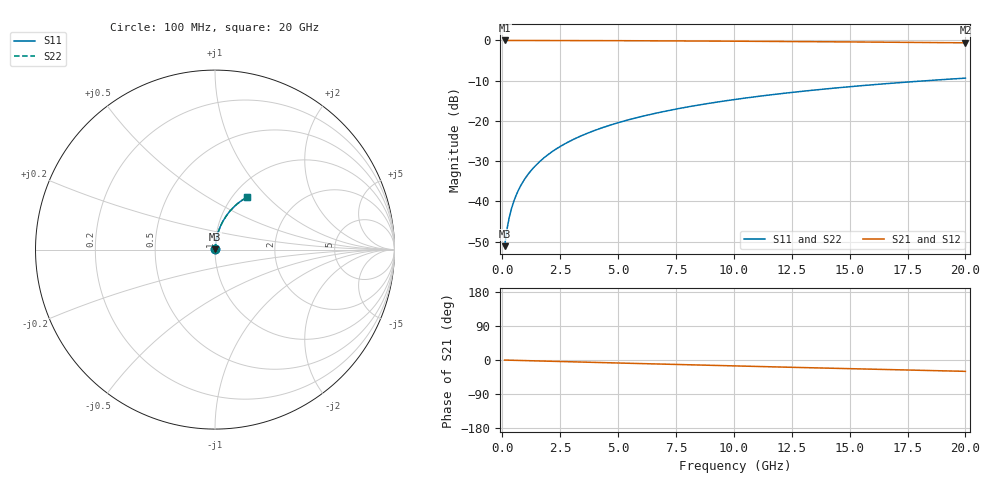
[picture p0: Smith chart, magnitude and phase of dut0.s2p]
! Touchstone file exported from HFSS 2026.1.0
!  File:  C:/ffzhzh/LocalFiles/Ansys_Project_Files/temp_val_TMRDL_0_1782902374_43084.aedt
!  Generated:  06:41:32 PM Jul  1, 2026
!  Design:  TMRDL
!  Project:  temp_val_TMRDL_0_1782902374_43084
! Variables:
!  h_bsmrdl = 2um
!  h_ox = 20um
!  h_rdl = 5um
!  h_sub = 80um
!  h_tmrdl = 4.08um
!  h_tsv = 80um
!  h_via = 3um
!  l_bsmrdl = 300um
!  l_sub = 764.65um
!  l_tmrdl = 364.65um
!  m_sub = 200um
!  pitch = 56.52um
!  r_tsv = 6um
!  s_tmrdl = 10um
!  w_bsmrdl = 18um
!  w_sub = 500um
!  w_tmrdl = 18.18um
!  x_tsv_center1 = 373.74um
!  x_tsv_center2 = 691.74um
!  x_tsv_center3 = 1074.57um
!  x_tsv_center4 = 1392.57um
!  x_tsv_center5 = 1775.4um
!  x_tsv_center6 = 2093.4um
# GHz S MA R 50.000000
! Terminal data exported
! Port[1] = TM_RDL1_1_T1
! Port[2] = TM_RDL1_1_T2
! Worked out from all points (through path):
!   200 points, 100 MHz to 20 GHz, reference 50 ohm
!   highest |S21| = -0.02 dB at 100 MHz (marker M1); lowest = -0.6 dB at 20 GHz (marker M2)
!   group delay of S21, straight-line fit = 4.16 ps
!   lowest |S11| = -51.1 dB at 100 MHz (marker M3), VSWR 1.01, Z = 50.2 + j0.203 ohm
!   |S11| at or under -10 dB: start of sweep to 18.36 GHz
!   |S22| runs from -51.1 to -9.4 dB; largest |S21 - S12| = 3.2e-15
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0.1  0.002772 46.7  0.9981 -0.2  0.9981 -0.2  0.002772 46.7
! Gamma 0 0 0 0
! Port Impedance 50 0 50 0
0.2  0.004467 63.7  0.998 -0.3  0.998 -0.3  0.004467 63.7
0.3  0.006306 70.8  0.998 -0.5  0.998 -0.5  0.006306 70.8
0.4  0.008174 74.5  0.9979 -0.7  0.9979 -0.7  0.008174 74.5
0.5  0.01005 76.9  0.9978 -0.8  0.9978 -0.8  0.01005 76.9
0.7  0.01382 79.6  0.9977 -1.1  0.9977 -1.1  0.01382 79.6
0.8  0.01571 80.5  0.9976 -1.3  0.9976 -1.3  0.01571 80.5
1  0.0195 81.6  0.9975 -1.6  0.9975 -1.6  0.0195 81.6
1.2  0.02331 82.3  0.9974 -1.9  0.9974 -1.9  0.02331 82.3
1.4  0.02711 82.7  0.9973 -2.2  0.9973 -2.2  0.02711 82.7
1.7  0.03282 83.0  0.997 -2.7  0.997 -2.7  0.03282 83.0
2  0.03853 83.0  0.9967 -3.2  0.9967 -3.2  0.03853 83.0
2.7  0.05181 82.6  0.9959 -4.3  0.9959 -4.3  0.05181 82.6
3.5  0.06689 81.8  0.9947 -5.6  0.9947 -5.6  0.06689 81.8
4.2  0.07997 80.9  0.9934 -6.7  0.9934 -6.7  0.07997 80.9
5  0.09477 79.8  0.9918 -7.9  0.9918 -7.9  0.09477 79.8
6.8  0.1275 77.3  0.9874 -10.7  0.9874 -10.7  0.1275 77.3
8.3  0.1542 75.1  0.983 -13.0  0.983 -13.0  0.1542 75.1
10.1  0.1854 72.6  0.9771 -15.7  0.9771 -15.7  0.1854 72.6
13.4  0.2403 67.9  0.9643 -20.6  0.9643 -20.6  0.2403 67.9
16.7  0.2918 63.3  0.9494 -25.3  0.9494 -25.3  0.2918 63.3
20  0.3396 58.8  0.9331 -29.9  0.9331 -29.9  0.3396 58.8
